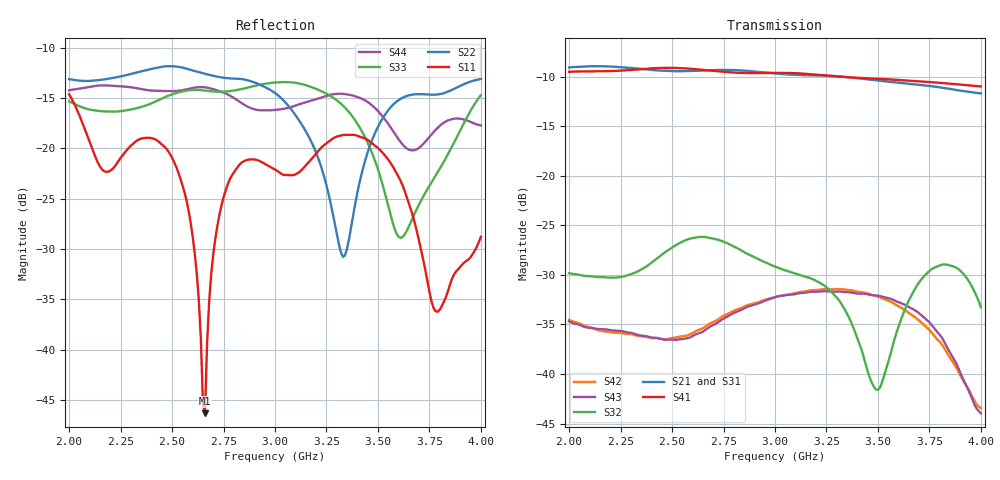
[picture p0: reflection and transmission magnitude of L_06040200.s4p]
!Agilent Technologies,N5224A,MY51441093,A.09.90.21
!Agilent N5224A: A.09.90.21
!Date: Friday, December 19, 2025 16:37:40
!Correction: S11(Full 4 Port(1,2,3,4))
!S12(Full 4 Port(1,2,3,4))
!S13(Full 4 Port(1,2,3,4))
!S14(Full 4 Port(1,2,3,4))
!S21(Full 4 Port(1,2,3,4))
!S22(Full 4 Port(1,2,3,4))
!S23(Full 4 Port(1,2,3,4))
!S24(Full 4 Port(1,2,3,4))
!S31(Full 4 Port(1,2,3,4))
!S32(Full 4 Port(1,2,3,4))
!S33(Full 4 Port(1,2,3,4))
!S34(Full 4 Port(1,2,3,4))
!S41(Full 4 Port(1,2,3,4))
!S42(Full 4 Port(1,2,3,4))
!S43(Full 4 Port(1,2,3,4))
!S44(Full 4 Port(1,2,3,4))
!S4P File: Measurements: <S11,S12,S13,S14>,
!<S21,S22,S23,S24>,
!<S31,S32,S33,S34>,
!<S41,S42,S43,S44>:
# Hz S  dB  R 50
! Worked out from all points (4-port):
!   201 points, 2 GHz to 4 GHz, reference 50 ohm
!   strongest paths, dB at 2 GHz, 2.5 GHz, 3 GHz, 3.5 GHz, 4 GHz:
!     S41: -9.5, -9.1, -9.6, -10.2, -11.0
!     S21: -9.0, -9.4, -9.6, -10.4, -11.7
!     S31: -9.2, -9.5, -9.9, -10.5, -11.6
!     S32: -29.8, -27.2, -29.2, -41.6, -33.3
!     S43: -34.7, -36.5, -32.2, -32.1, -44.0
!     S42: -34.5, -36.4, -32.2, -32.2, -43.5
!   lowest |S11| = -46.3 dB at 2.66 GHz (marker M1), VSWR 1.01, Z = 50.1 + j0.474 ohm
!   |S11| at or under -10 dB: start of sweep to end of sweep
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2e9  -14.64 -52.7  -9.03 142.6  -9.18 -170.5  -9.60 -124.4
     -9.05 142.6  -13.13 -69.5  -29.77 145.1  -34.65 -152.0
     -9.24 -170.4  -29.82 145.4  -15.34 5.1  -34.86 -106.1
     -9.48 -124.1  -34.54 -151.7  -34.70 -106.0  -14.23 -4.0
2.52e9  -21.84 -105.8  -9.41 -115.0  -9.46 -71.1  -9.21 -28.8
        -9.42 -115.1  -11.87 -175.3  -26.92 169.1  -36.43 72.8
        -9.53 -71.1  -26.98 169.3  -14.50 -133.7  -36.74 117.8
        -9.09 -28.8  -36.32 72.9  -36.55 117.9  -14.30 -148.9
2.66e9  -46.33 79.1  -9.32 176.5  -9.36 -140.4  -9.43 -100.0
        -9.34 176.4  -12.59 157.2  -26.12 78.9  -35.37 -41.0
        -9.43 -140.3  -26.16 79.1  -14.27 -171.8  -35.76 2.3
        -9.31 -99.9  -35.26 -41.0  -35.58 2.4  -13.94 178.9
2.84e9  -21.38 -29.8  -9.32 85.8  -9.40 128.0  -9.69 171.1
        -9.35 85.7  -13.12 127.4  -27.52 -26.1  -33.41 165.9
        -9.48 128.1  -27.56 -25.9  -14.10 150.9  -33.65 -153.9
        -9.60 171.2  -33.30 166.2  -33.49 -153.9  -15.53 142.5
3.33e9  -18.68 -84.3  -9.96 -159.8  -10.20 -114.7  -10.07 -72.2
        -9.98 -159.8  -30.78 92.6  -33.10 86.2  -31.54 96.4
        -10.29 -114.4  -33.18 86.6  -15.75 28.2  -31.86 142.1
        -10.00 -72.0  -31.46 96.6  -31.71 142.1  -14.59 76.1
3.61e9  -23.23 -163.3  -10.60 58.9  -10.49 105.4  -10.37 149.9
        -10.61 59.0  -15.08 97.6  -34.55 40.6  -33.34 -152.5
        -10.58 105.8  -34.63 40.9  -28.90 -134.0  -32.97 -105.8
        -10.33 150.3  -33.29 -152.2  -32.83 -105.8  -19.37 32.9
4e9  -28.79 -7.4  -11.62 -137.1  -11.50 -91.0  -11.00 -42.6
     -11.66 -136.9  -13.11 28.1  -33.19 162.8  -43.46 160.5
     -11.59 -90.4  -33.26 163.2  -14.72 91.8  -44.06 -154.5
     -10.96 -41.8  -43.45 160.9  -43.97 -154.4  -17.73 16.3
